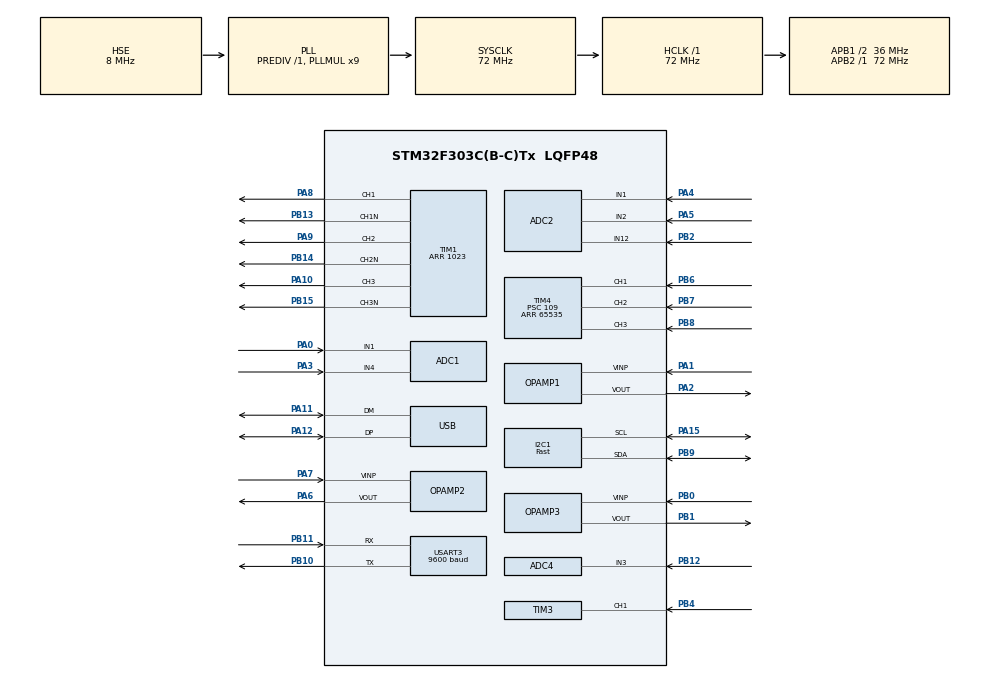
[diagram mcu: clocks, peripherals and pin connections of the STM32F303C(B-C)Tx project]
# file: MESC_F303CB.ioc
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ADC1.AWD1HighThreshold=4000
ADC1.AWD1ITMode=ENABLE
ADC1.AWD1LowThreshold=96
ADC1.Channel-0\#ChannelRegularConversion=ADC_CHANNEL_3
ADC1.Channel-1\#ChannelRegularConversion=ADC_CHANNEL_1
ADC1.Channel-2\#ChannelRegularConversion=ADC_CHANNEL_4
ADC1.ContinuousConvMode=DISABLE
ADC1.DMAContinuousRequests=ENABLE
ADC1.DataAlign=ADC_DATAALIGN_RIGHT
ADC1.EOCSelection=ADC_EOC_SEQ_CONV
ADC1.EnableAnalogWatchDog1=true
ADC1.EnableAnalogWatchDog2=false
ADC1.EnableInjectedConversion=ENABLE
ADC1.ExternalTrigConv=ADC_EXTERNALTRIGCONV_T1_TRGO
ADC1.ExternalTrigConvEdge=ADC_EXTERNALTRIGCONVEDGE_FALLING
ADC1.ExternalTrigInjecConv=ADC_EXTERNALTRIGINJECCONV_T1_TRGO
ADC1.ExternalTrigInjecConvEdge=ADC_EXTERNALTRIGINJECCONV_EDGE_FALLING
ADC1.InjMonitoredBy-3\#ChannelInjectedConversion=__NULL
ADC1.InjMonitoredBy-4\#ChannelInjectedConversion=__NULL
ADC1.InjMonitoredBy-5\#ChannelInjectedConversion=__NULL
ADC1.InjNumberOfConversion=3
ADC1.InjectedChannel-3\#ChannelInjectedConversion=ADC_CHANNEL_3
ADC1.InjectedChannel-4\#ChannelInjectedConversion=ADC_CHANNEL_1
ADC1.InjectedChannel-5\#ChannelInjectedConversion=ADC_CHANNEL_4
ADC1.InjectedOffset-3\#ChannelInjectedConversion=0
ADC1.InjectedOffset-4\#ChannelInjectedConversion=0
ADC1.InjectedOffset-5\#ChannelInjectedConversion=0
ADC1.InjectedOffsetNumber-3\#ChannelInjectedConversion=ADC_OFFSET_NONE
ADC1.InjectedOffsetNumber-4\#ChannelInjectedConversion=ADC_OFFSET_NONE
ADC1.InjectedOffsetNumber-5\#ChannelInjectedConversion=ADC_OFFSET_NONE
ADC1.InjectedRank-3\#ChannelInjectedConversion=1
ADC1.InjectedRank-4\#ChannelInjectedConversion=2
ADC1.InjectedRank-5\#ChannelInjectedConversion=3
ADC1.InjectedSamplingTime-3\#ChannelInjectedConversion=ADC_SAMPLETIME_61CYCLES_5
ADC1.InjectedSamplingTime-4\#ChannelInjectedConversion=ADC_SAMPLETIME_7CYCLES_5
ADC1.InjectedSamplingTime-5\#ChannelInjectedConversion=ADC_SAMPLETIME_7CYCLES_5
ADC1.InjectedSamplingTimeOPAMP-3\#ChannelInjectedConversion=ADC_SAMPLETIME_61CYCLES_5
ADC1.InjectedSamplingTimeOPAMP-4\#ChannelInjectedConversion=ADC_SAMPLETIME_61CYCLES_5
ADC1.InjectedSamplingTimeOPAMP-5\#ChannelInjectedConversion=ADC_SAMPLETIME_61CYCLES_5
ADC1.NbrOfConversion=3
ADC1.NbrOfConversionFlag=1
ADC1.Offset-0\#ChannelRegularConversion=0
ADC1.Offset-1\#ChannelRegularConversion=0
ADC1.Offset-2\#ChannelRegularConversion=0
ADC1.OffsetNumber-0\#ChannelRegularConversion=ADC_OFFSET_NONE
ADC1.OffsetNumber-1\#ChannelRegularConversion=ADC_OFFSET_NONE
ADC1.OffsetNumber-2\#ChannelRegularConversion=ADC_OFFSET_NONE
ADC1.Rank-0\#ChannelRegularConversion=1
ADC1.Rank-1\#ChannelRegularConversion=2
ADC1.Rank-2\#ChannelRegularConversion=3
ADC1.Rank1_Channel=ADC_CHANNEL_3
ADC1.Rank2_Channel=ADC_CHANNEL_1
ADC1.Rank3_Channel=ADC_CHANNEL_4
ADC1.SamplingTime-0\#ChannelRegularConversion=ADC_SAMPLETIME_61CYCLES_5
ADC1.SamplingTime-1\#ChannelRegularConversion=ADC_SAMPLETIME_61CYCLES_5
ADC1.SamplingTime-2\#ChannelRegularConversion=ADC_SAMPLETIME_4CYCLES_5
ADC1.WatchdogChannel=ADC_CHANNEL_3
ADC1.WatchdogMode=ADC_ANALOGWATCHDOG_SINGLE_INJEC
ADC1.master=1
ADC2.AWD1HighThreshold=4000
ADC2.AWD1ITMode=ENABLE
ADC2.AWD1LowThreshold=96
ADC2.Channel-0\#ChannelRegularConversion=ADC_CHANNEL_3
ADC2.Channel-1\#ChannelRegularConversion=ADC_CHANNEL_1
ADC2.Channel-2\#ChannelRegularConversion=ADC_CHANNEL_2
ADC2.Channel-3\#ChannelRegularConversion=ADC_CHANNEL_12
ADC2.ContinuousConvMode=DISABLE
ADC2.DMAContinuousRequests=ENABLE
ADC2.EOCSelection=ADC_EOC_SEQ_CONV
ADC2.EnableAnalogWatchDog1=true
ADC2.ExternalTrigConv=ADC_EXTERNALTRIGCONV_T1_TRGO
ADC2.ExternalTrigConvEdge=ADC_EXTERNALTRIGCONVEDGE_FALLING
ADC2.ExternalTrigInjecConv=ADC_EXTERNALTRIGINJECCONV_T1_TRGO
ADC2.ExternalTrigInjecConvEdge=ADC_EXTERNALTRIGINJECCONV_EDGE_FALLING
ADC2.InjNumberOfConversion=4
ADC2.InjectedChannel-4\#ChannelInjectedConversion=ADC_CHANNEL_3
ADC2.InjectedChannel-5\#ChannelInjectedConversion=ADC_CHANNEL_1
ADC2.InjectedChannel-6\#ChannelInjectedConversion=ADC_CHANNEL_2
ADC2.InjectedChannel-7\#ChannelInjectedConversion=ADC_CHANNEL_12
ADC2.InjectedOffset-4\#ChannelInjectedConversion=0
ADC2.InjectedOffset-5\#ChannelInjectedConversion=0
ADC2.InjectedOffset-6\#ChannelInjectedConversion=0
ADC2.InjectedOffset-7\#ChannelInjectedConversion=0
ADC2.InjectedOffsetNumber-4\#ChannelInjectedConversion=ADC_OFFSET_NONE
ADC2.InjectedOffsetNumber-5\#ChannelInjectedConversion=ADC_OFFSET_NONE
ADC2.InjectedOffsetNumber-6\#ChannelInjectedConversion=ADC_OFFSET_NONE
ADC2.InjectedOffsetNumber-7\#ChannelInjectedConversion=ADC_OFFSET_NONE
ADC2.InjectedRank-4\#ChannelInjectedConversion=1
ADC2.InjectedRank-5\#ChannelInjectedConversion=2
ADC2.InjectedRank-6\#ChannelInjectedConversion=3
ADC2.InjectedRank-7\#ChannelInjectedConversion=4
ADC2.InjectedSamplingTime-4\#ChannelInjectedConversion=ADC_SAMPLETIME_61CYCLES_5
ADC2.InjectedSamplingTime-5\#ChannelInjectedConversion=ADC_SAMPLETIME_7CYCLES_5
ADC2.InjectedSamplingTime-6\#ChannelInjectedConversion=ADC_SAMPLETIME_7CYCLES_5
ADC2.InjectedSamplingTime-7\#ChannelInjectedConversion=ADC_SAMPLETIME_7CYCLES_5
ADC2.InjectedSamplingTimeOPAMP-4\#ChannelInjectedConversion=ADC_SAMPLETIME_61CYCLES_5
ADC2.InjectedSamplingTimeOPAMP-5\#ChannelInjectedConversion=ADC_SAMPLETIME_61CYCLES_5
ADC2.InjectedSamplingTimeOPAMP-6\#ChannelInjectedConversion=ADC_SAMPLETIME_61CYCLES_5
ADC2.InjectedSamplingTimeOPAMP-7\#ChannelInjectedConversion=ADC_SAMPLETIME_61CYCLES_5
ADC2.NbrOfConversion=4
ADC2.NbrOfConversionFlag=1
ADC2.Offset-0\#ChannelRegularConversion=0
ADC2.Offset-1\#ChannelRegularConversion=0
ADC2.Offset-2\#ChannelRegularConversion=0
ADC2.Offset-3\#ChannelRegularConversion=0
ADC2.OffsetNumber-0\#ChannelRegularConversion=ADC_OFFSET_NONE
ADC2.OffsetNumber-1\#ChannelRegularConversion=ADC_OFFSET_NONE
ADC2.OffsetNumber-2\#ChannelRegularConversion=ADC_OFFSET_NONE
ADC2.OffsetNumber-3\#ChannelRegularConversion=ADC_OFFSET_NONE
ADC2.Rank-0\#ChannelRegularConversion=1
ADC2.Rank-1\#ChannelRegularConversion=2
ADC2.Rank-2\#ChannelRegularConversion=3
ADC2.Rank-3\#ChannelRegularConversion=4
ADC2.Rank1_Channel=ADC_CHANNEL_3
ADC2.Rank2_Channel=ADC_CHANNEL_1
ADC2.Rank3_Channel=ADC_CHANNEL_2
ADC2.Rank4_Channel=ADC_CHANNEL_12
ADC2.SamplingTime-0\#ChannelRegularConversion=ADC_SAMPLETIME_61CYCLES_5
ADC2.SamplingTime-1\#ChannelRegularConversion=ADC_SAMPLETIME_4CYCLES_5
ADC2.SamplingTime-2\#ChannelRegularConversion=ADC_SAMPLETIME_4CYCLES_5
ADC2.SamplingTime-3\#ChannelRegularConversion=ADC_SAMPLETIME_19CYCLES_5
ADC2.SamplingTimeOPAMP-3\#ChannelRegularConversion=ADC_SAMPLETIME_61CYCLES_5
ADC2.WatchdogChannel=ADC_CHANNEL_3
ADC3.AWD1HighThreshold=4000
ADC3.AWD1ITMode=ENABLE
ADC3.AWD1LowThreshold=96
ADC3.Channel-0\#ChannelRegularConversion=ADC_CHANNEL_1
ADC3.ContinuousConvMode=DISABLE
ADC3.DMAContinuousRequests=ENABLE
ADC3.EOCSelection=ADC_EOC_SEQ_CONV
ADC3.EnableAnalogWatchDog1=true
ADC3.EnableAnalogWatchDog2=false
ADC3.ExternalTrigConv=ADC_EXTERNALTRIGCONV_T1_TRGO
ADC3.ExternalTrigConvEdge=ADC_EXTERNALTRIGCONVEDGE_FALLING
ADC3.ExternalTrigInjecConv=ADC_EXTERNALTRIGINJECCONV_T1_TRGO
ADC3.ExternalTrigInjecConvEdge=ADC_EXTERNALTRIGINJECCONV_EDGE_FALLING
ADC3.InjNumberOfConversion=1
ADC3.InjectedChannel-1\#ChannelInjectedConversion=ADC_CHANNEL_1
ADC3.InjectedOffset-1\#ChannelInjectedConversion=0
ADC3.InjectedOffsetNumber-1\#ChannelInjectedConversion=ADC_OFFSET_NONE
ADC3.InjectedRank-1\#ChannelInjectedConversion=1
ADC3.InjectedSamplingTime-1\#ChannelInjectedConversion=ADC_SAMPLETIME_61CYCLES_5
ADC3.InjectedSamplingTimeOPAMP-1\#ChannelInjectedConversion=ADC_SAMPLETIME_61CYCLES_5
ADC3.NbrOfConversionFlag=1
ADC3.Offset-0\#ChannelRegularConversion=0
ADC3.OffsetNumber-0\#ChannelRegularConversion=ADC_OFFSET_NONE
ADC3.Rank-0\#ChannelRegularConversion=1
ADC3.Rank1_Channel=ADC_CHANNEL_1
ADC3.SamplingTime-0\#ChannelRegularConversion=ADC_SAMPLETIME_61CYCLES_5
ADC3.master=1
ADC4.Channel-0\#ChannelRegularConversion=ADC_CHANNEL_3
ADC4.DMAContinuousRequests=ENABLE
ADC4.EOCSelection=ADC_EOC_SEQ_CONV
ADC4.ExternalTrigConv=ADC_EXTERNALTRIGCONV_T1_TRGO
ADC4.ExternalTrigInjecConv=ADC_EXTERNALTRIGINJECCONV_T1_TRGO
ADC4.ExternalTrigInjecConvEdge=ADC_EXTERNALTRIGINJECCONV_EDGE_FALLING
ADC4.InjNumberOfConversion=1
ADC4.InjectedChannel-1\#ChannelInjectedConversion=ADC_CHANNEL_3
ADC4.InjectedOffset-1\#ChannelInjectedConversion=0
ADC4.InjectedOffsetNumber-1\#ChannelInjectedConversion=ADC_OFFSET_NONE
ADC4.InjectedRank-1\#ChannelInjectedConversion=1
ADC4.InjectedSamplingTime-1\#ChannelInjectedConversion=ADC_SAMPLETIME_7CYCLES_5
ADC4.InjectedSamplingTimeOPAMP-1\#ChannelInjectedConversion=ADC_SAMPLETIME_61CYCLES_5
ADC4.NbrOfConversion=1
ADC4.NbrOfConversionFlag=1
ADC4.Offset-0\#ChannelRegularConversion=0
ADC4.OffsetNumber-0\#ChannelRegularConversion=ADC_OFFSET_NONE
ADC4.Rank-0\#ChannelRegularConversion=1
ADC4.Rank1_Channel=ADC_CHANNEL_3
ADC4.SamplingTime-0\#ChannelRegularConversion=ADC_SAMPLETIME_19CYCLES_5
ADC4.SamplingTimeOPAMP-0\#ChannelRegularConversion=ADC_SAMPLETIME_61CYCLES_5
COMP1.InvertingInput=COMP_INVERTINGINPUT_1_4VREFINT
COMP1.Output=COMP_OUTPUT_TIM1BKIN2
COMP1.OutputPol=COMP_OUTPUTPOL_NONINVERTED
COMP2.InvertingInput=COMP_INVERTINGINPUT_1_4VREFINT
COMP2.Output=COMP_OUTPUT_TIM1BKIN2
COMP4.InvertingInput=COMP_INVERTINGINPUT_1_4VREFINT
COMP4.Output=COMP_OUTPUT_TIM1BKIN2
COMP7.InvertingInput=COMP_INVERTINGINPUT_VREFINT
COMP7.Output=COMP_OUTPUT_TIM1BKIN2
Dma.ADC1.3.Direction=DMA_PERIPH_TO_MEMORY
Dma.ADC1.3.Instance=DMA1_Channel1
Dma.ADC1.3.MemDataAlignment=DMA_MDATAALIGN_WORD
Dma.ADC1.3.MemInc=DMA_MINC_ENABLE
Dma.ADC1.3.Mode=DMA_CIRCULAR
Dma.ADC1.3.PeriphDataAlignment=DMA_PDATAALIGN_WORD
Dma.ADC1.3.PeriphInc=DMA_PINC_DISABLE
Dma.ADC1.3.Priority=DMA_PRIORITY_HIGH
Dma.ADC2.4.Direction=DMA_PERIPH_TO_MEMORY
Dma.ADC2.4.Instance=DMA2_Channel1
Dma.ADC2.4.MemDataAlignment=DMA_MDATAALIGN_WORD
Dma.ADC2.4.MemInc=DMA_MINC_ENABLE
Dma.ADC2.4.Mode=DMA_CIRCULAR
Dma.ADC2.4.PeriphDataAlignment=DMA_PDATAALIGN_WORD
Dma.ADC2.4.PeriphInc=DMA_PINC_DISABLE
Dma.ADC2.4.Priority=DMA_PRIORITY_HIGH
Dma.ADC3.5.Direction=DMA_PERIPH_TO_MEMORY
Dma.ADC3.5.Instance=DMA2_Channel5
Dma.ADC3.5.MemDataAlignment=DMA_MDATAALIGN_WORD
Dma.ADC3.5.MemInc=DMA_MINC_ENABLE
Dma.ADC3.5.Mode=DMA_CIRCULAR
Dma.ADC3.5.PeriphDataAlignment=DMA_PDATAALIGN_WORD
Dma.ADC3.5.PeriphInc=DMA_PINC_DISABLE
Dma.ADC3.5.Priority=DMA_PRIORITY_HIGH
Dma.ADC4.6.Direction=DMA_PERIPH_TO_MEMORY
Dma.ADC4.6.Instance=DMA2_Channel2
Dma.ADC4.6.MemDataAlignment=DMA_MDATAALIGN_HALFWORD
Dma.ADC4.6.MemInc=DMA_MINC_ENABLE
Dma.ADC4.6.Mode=DMA_CIRCULAR
Dma.ADC4.6.PeriphDataAlignment=DMA_PDATAALIGN_HALFWORD
Dma.ADC4.6.PeriphInc=DMA_PINC_DISABLE
Dma.ADC4.6.Priority=DMA_PRIORITY_LOW
Dma.I2C1_RX.0.Direction=DMA_PERIPH_TO_MEMORY
Dma.I2C1_RX.0.Instance=DMA1_Channel7
Dma.I2C1_RX.0.MemDataAlignment=DMA_MDATAALIGN_BYTE
Dma.I2C1_RX.0.MemInc=DMA_MINC_ENABLE
Dma.I2C1_RX.0.Mode=DMA_NORMAL
Dma.I2C1_RX.0.PeriphDataAlignment=DMA_PDATAALIGN_BYTE
Dma.I2C1_RX.0.PeriphInc=DMA_PINC_DISABLE
Dma.I2C1_RX.0.Priority=DMA_PRIORITY_LOW
Dma.I2C1_TX.1.Direction=DMA_MEMORY_TO_PERIPH
Dma.I2C1_TX.1.Instance=DMA1_Channel6
Dma.I2C1_TX.1.MemDataAlignment=DMA_MDATAALIGN_BYTE
Dma.I2C1_TX.1.MemInc=DMA_MINC_ENABLE
Dma.I2C1_TX.1.Mode=DMA_NORMAL
Dma.I2C1_TX.1.PeriphDataAlignment=DMA_PDATAALIGN_BYTE
Dma.I2C1_TX.1.PeriphInc=DMA_PINC_DISABLE
Dma.I2C1_TX.1.Priority=DMA_PRIORITY_LOW
Dma.Request0=I2C1_RX
Dma.Request1=I2C1_TX
Dma.Request2=USART3_TX
Dma.Request3=ADC1
Dma.Request4=ADC2
Dma.Request5=ADC3
Dma.Request6=ADC4
Dma.USART3_TX.2.Direction=DMA_MEMORY_TO_PERIPH
Dma.USART3_TX.2.Instance=DMA1_Channel2
Dma.USART3_TX.2.MemDataAlignment=DMA_MDATAALIGN_BYTE
Dma.USART3_TX.2.MemInc=DMA_MINC_ENABLE
Dma.USART3_TX.2.Mode=DMA_NORMAL
Dma.USART3_TX.2.PeriphDataAlignment=DMA_PDATAALIGN_BYTE
Dma.USART3_TX.2.PeriphInc=DMA_PINC_DISABLE
Dma.USART3_TX.2.Priority=DMA_PRIORITY_LOW
I2C1.I2C_Speed_Mode=I2C_Fast
I2C1.Timing=0x0000020B
Mcu.Family=STM32F3
Mcu.Name=STM32F303C(B-C)Tx
Mcu.Package=LQFP48
NVIC.ADC1_2_IRQn=true\:1\:0\:true\:false\:true\:true\:false\:true
NVIC.ADC3_IRQn=true\:0\:0\:false\:false\:true\:true\:true\:true
NVIC.ADC4_IRQn=true\:2\:0\:true\:false\:true\:true\:true\:true
NVIC.DMA1_Channel2_IRQn=true\:2\:0\:true\:true\:true\:1\:true\:true\:true
NVIC.PriorityGroup=NVIC_PRIORITYGROUP_4
NVIC.TIM1_UP_TIM16_IRQn=true\:0\:0\:true\:false\:true\:true\:false\:true
NVIC.TIM3_IRQn=true\:2\:0\:true\:false\:true\:true\:false\:true
NVIC.TIM4_IRQn=true\:2\:0\:true\:false\:true\:true\:false\:true
NVIC.TIM7_IRQn=true\:0\:0\:false\:false\:true\:false\:true\:true
NVIC.TimeBase=TIM7_IRQn
NVIC.TimeBaseIP=TIM7
NVIC.USART3_IRQn=true\:2\:0\:true\:false\:true\:true\:true\:true
NVIC.USB_LP_CAN_RX0_IRQn=true\:3\:0\:true\:false\:true\:false\:true\:true
OPAMP1.PgaGain=OPAMP_PGA_GAIN_16
OPAMP1.SelfCalibration=Enable
OPAMP2.PgaGain=OPAMP_PGA_GAIN_16
OPAMP3.PgaGain=OPAMP_PGA_GAIN_16
PA0.Signal=SharedAnalog_PA0
PA0.Stacked=true
PA1.Signal=SharedStack_PA1
PA1.Stacked=true
PA10.Signal=S_TIM1_CH3
PA11.Mode=Device
PA11.Signal=USB_DM
PA12.Mode=Device
PA12.Signal=USB_DP
PA13.Mode=Serial_Wire
PA13.Signal=SYS_JTMS-SWDIO
PA14.Mode=Serial_Wire
PA14.Signal=SYS_JTCK-SWCLK
PA15.GPIO_Pu=GPIO_PULLUP
PA15.Mode=I2C
PA15.Signal=I2C1_SCL
PA2.Mode=PGA Not Connected
PA2.Signal=OPAMP1_VOUT
PA2.Stacked=true
PA3.Mode=IN4-Single-Ended
PA3.Signal=ADC1_IN4
PA4.Mode=IN1-Single-Ended
PA4.Signal=ADC2_IN1
PA5.Mode=IN2-Single-Ended
PA5.Signal=ADC2_IN2
PA6.Mode=PGA Not Connected
PA6.Signal=OPAMP2_VOUT
PA7.Signal=SharedStack_PA7
PA7.Stacked=true
PA8.Signal=S_TIM1_CH1
PA9.Signal=S_TIM1_CH2
PB0.Signal=SharedStack_PB0
PB0.Stacked=true
PB1.Mode=PGA Not Connected
PB1.Signal=OPAMP3_VOUT
PB10.Mode=Asynchronous
PB10.Signal=USART3_TX
PB10.Stacked=true
PB11.Mode=Asynchronous
PB11.Signal=USART3_RX
PB11.Stacked=true
PB12.Mode=IN3-Single-Ended
PB12.Signal=ADC4_IN3
PB13.Mode=PWM Generation1 CH1 CH1N
PB13.Signal=TIM1_CH1N
PB14.Mode=PWM Generation2 CH2 CH2N
PB14.Signal=TIM1_CH2N
PB15.Mode=PWM Generation3 CH3 CH3N
PB15.Signal=TIM1_CH3N
PB2.Mode=IN12-Single-Ended
PB2.Signal=ADC2_IN12
PB4.Signal=S_TIM3_CH1
PB6.Signal=S_TIM4_CH1
PB7.Signal=S_TIM4_CH2
PB8.Signal=S_TIM4_CH3
PB9.GPIO_Pu=GPIO_PULLUP
PB9.Mode=I2C
PB9.Signal=I2C1_SDA
PF0-OSC_IN.Mode=HSE-External-Clock-Source
PF0-OSC_IN.Signal=RCC_OSC_IN
ProjectManager.HeapSize=0x200
ProjectManager.StackSize=0x400
ProjectManager.TargetToolchain=STM32CubeIDE
RCC.AHBFreq_Value=72000000
RCC.APB1CLKDivider=RCC_HCLK_DIV2
RCC.APB1Freq_Value=36000000
RCC.APB1TimFreq_Value=72000000
RCC.APB2Freq_Value=72000000
RCC.APB2TimFreq_Value=72000000
RCC.CortexFreq_Value=72000000
RCC.HCLKFreq_Value=72000000
RCC.HSE_VALUE=8000000
RCC.HSI_VALUE=8000000
RCC.LSE_VALUE=32768
RCC.PLLMUL=RCC_PLL_MUL9
RCC.PRESCALERUSB=RCC_USBCLKSOURCE_PLL_DIV1_5
RCC.SYSCLKFreq_VALUE=72000000
RCC.SYSCLKSourceVirtual=RCC_SYSCLKSOURCE_PLLCLK
RCC.USBFreq_Value=48000000
SH.S_TIM1_CH1.0=TIM1_CH1,PWM Generation1 CH1 CH1N
SH.S_TIM1_CH2.0=TIM1_CH2,PWM Generation2 CH2 CH2N
SH.S_TIM1_CH3.0=TIM1_CH3,PWM Generation3 CH3 CH3N
SH.S_TIM3_CH1.0=TIM3_CH1,TriggerSource_TI1FP1
SH.S_TIM3_CH1.1=TIM3_CH1,Input_Capture1_from_TI1
SH.S_TIM3_CH1.2=TIM3_CH1,Input_Capture2_from_TI1
SH.S_TIM4_CH1.0=TIM4_CH1,TriggerSource_TI1ED
SH.S_TIM4_CH1.1=TIM4_CH1,Input_Capture1_from_TI1
SH.S_TIM4_CH2.0=TIM4_CH2,Input_Capture2_from_TI2
SH.S_TIM4_CH3.0=TIM4_CH3,Input_Capture3_from_TI3
SH.SharedAnalog_PA0.0=ADC1_IN1,IN1-Single-Ended
SH.SharedAnalog_PA0.1=COMP7_INP,INP
SH.SharedStack_PA1.0=OPAMP1_VINP,PGA Not Connected
SH.SharedStack_PA1.1=COMP1_INP,INP
SH.SharedStack_PA7.0=OPAMP2_VINP,PGA Not Connected
SH.SharedStack_PA7.1=COMP2_INP,INP
SH.SharedStack_PB0.0=OPAMP3_VINP,PGA Not Connected
SH.SharedStack_PB0.1=COMP4_INP,INP
TIM1.Break2Filter=6
TIM1.Break2State=TIM_BREAK2_ENABLE
TIM1.BreakState=TIM_BREAK_DISABLE
TIM1.Channel-PWM\ Generation1\ CH1\ CH1N=TIM_CHANNEL_1
TIM1.Channel-PWM\ Generation2\ CH2\ CH2N=TIM_CHANNEL_2
TIM1.Channel-PWM\ Generation3\ CH3\ CH3N=TIM_CHANNEL_3
TIM1.Channel-PWM\ Generation4\ No\ Output=TIM_CHANNEL_4
TIM1.CounterMode=TIM_COUNTERMODE_CENTERALIGNED1
TIM1.DeadTime=30
TIM1.OCNPolarity_1=TIM_OCNPOLARITY_HIGH
TIM1.OCNPolarity_2=TIM_OCNPOLARITY_HIGH
TIM1.OCNPolarity_3=TIM_OCNPOLARITY_HIGH
TIM1.OCPolarity_1=TIM_OCPOLARITY_HIGH
TIM1.OffStateIDLEMode=TIM_OSSI_ENABLE
TIM1.OffStateRunMode=TIM_OSSR_ENABLE
TIM1.Period=1023
TIM1.Pulse-PWM\ Generation1\ CH1\ CH1N=512
TIM1.Pulse-PWM\ Generation2\ CH2\ CH2N=512
TIM1.Pulse-PWM\ Generation3\ CH3\ CH3N=512
TIM1.Pulse-PWM\ Generation4\ No\ Output=5
TIM1.TIM_MasterOutputTrigger=TIM_TRGO_OC4REF
TIM1.TIM_MasterOutputTrigger2=TIM_TRGO2_RESET
TIM3.Channel-Input_Capture1_from_TI1=TIM_CHANNEL_1
TIM3.Channel-Input_Capture2_from_TI1=TIM_CHANNEL_2
TIM3.ICPolarity_CH2=TIM_INPUTCHANNELPOLARITY_FALLING
TIM3.Period=65535
TIM3.Prescaler=71
TIM4.Channel-Input_Capture1_from_TI1=TIM_CHANNEL_1
TIM4.Channel-Input_Capture2_from_TI2=TIM_CHANNEL_2
TIM4.Channel-Input_Capture3_from_TI3=TIM_CHANNEL_3
TIM4.ICPolarity_CH1=TIM_INPUTCHANNELPOLARITY_BOTHEDGE
TIM4.ICPolarity_CH2=TIM_INPUTCHANNELPOLARITY_BOTHEDGE
TIM4.ICPolarity_CH3=TIM_INPUTCHANNELPOLARITY_BOTHEDGE
TIM4.Period=65535
TIM4.Prescaler=109
USART3.BaudRate=9600
USART3.VirtualMode-Asynchronous=VM_ASYNC
USB_DEVICE.CLASS_NAME_FS=CDC
USB_DEVICE.VirtualMode=Cdc
USB_DEVICE.VirtualModeFS=Cdc_FS
VP_ADC1_OPAMP_OUT1.Mode=IN3-OPAMP1-Single-Ended
VP_ADC2_OPAMP_OUT2.Mode=IN3-OPAMP2-Single-Ended
VP_ADC3_OPAMP_OUT3.Mode=IN1-OPAMP3-Single-Ended
VP_COMP1_VS_VREFINT14.Mode=VREFINT_14
VP_COMP2_VS_VREFINT14.Mode=VREFINT_14
VP_COMP4_VS_VREFINT14.Mode=VREFINT_14
VP_COMP7_VS_VREFINT.Mode=VREFINT
VP_SYS_VS_tim7.Mode=TIM7
VP_TIM17_VS_ClockSourceINT.Mode=Enable_Timer
VP_TIM1_VS_no_output4.Mode=PWM Generation4 No Output
VP_TIM3_VS_ControllerModeReset.Mode=Reset Mode
VP_TIM4_VS_ControllerModeReset.Mode=Reset Mode
VP_TIM4_VS_XOR.Mode=XOR_enable
VP_USB_DEVICE_VS_USB_DEVICE_CDC_FS.Mode=CDC_FS
board=custom

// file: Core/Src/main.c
/* USER CODE BEGIN Header */
/**
 ******************************************************************************
 * @file           : main.c
 * @brief          : Main program body
 ******************************************************************************
 * @attention
 *
 * <h2><center>&copy; Copyright (c) 2020 STMicroelectronics.
 * All rights reserved.</center></h2>
 *
 * This software component is licensed by ST under BSD 3-Clause license,
 * the "License"; You may not use this file except in compliance with the
 * License. You may obtain a copy of the License at:
 *                        opensource.org/licenses/BSD-3-Clause
 *
 ******************************************************************************
 */
/* USER CODE END Header */
#include "main.h"
#include "usb_device.h"

/* USER CODE BEGIN Includes */

//#include "usbd_cdc_if.c"
//#include "usbd_cdc.h"

#include "MESCmotor.h"
#include "MESCtemp.h"
#include "MESCfoc.h"

#include <stdio.h>

/* USER CODE END Includes */

ADC_HandleTypeDef hadc1;
ADC_HandleTypeDef hadc2;
ADC_HandleTypeDef hadc3;
ADC_HandleTypeDef hadc4;
DMA_HandleTypeDef hdma_adc1;
DMA_HandleTypeDef hdma_adc2;
DMA_HandleTypeDef hdma_adc3;
DMA_HandleTypeDef hdma_adc4;

COMP_HandleTypeDef hcomp1;
COMP_HandleTypeDef hcomp2;
COMP_HandleTypeDef hcomp4;
COMP_HandleTypeDef hcomp7;

I2C_HandleTypeDef hi2c1;
DMA_HandleTypeDef hdma_i2c1_rx;
DMA_HandleTypeDef hdma_i2c1_tx;

OPAMP_HandleTypeDef hopamp1;
OPAMP_HandleTypeDef hopamp2;
OPAMP_HandleTypeDef hopamp3;

TIM_HandleTypeDef htim1;
TIM_HandleTypeDef htim3;
TIM_HandleTypeDef htim4;
TIM_HandleTypeDef htim17;

UART_HandleTypeDef huart3;
DMA_HandleTypeDef hdma_usart3_tx;

/* USER CODE BEGIN PV */
// int initing = 1;
char UART_buffer[12];
char USBRxBuffer[12];
extern uint8_t b_write_flash;
extern uint8_t b_read_flash;
/* USER CODE END PV */

void SystemClock_Config(void);
static void MX_GPIO_Init(void);
static void MX_DMA_Init(void);
static void MX_ADC1_Init(void);
static void MX_ADC2_Init(void);
static void MX_ADC3_Init(void);
static void MX_COMP1_Init(void);
static void MX_COMP2_Init(void);
static void MX_COMP4_Init(void);
static void MX_COMP7_Init(void);
static void MX_I2C1_Init(void);
static void MX_OPAMP1_Init(void);
static void MX_OPAMP2_Init(void);
static void MX_OPAMP3_Init(void);
static void MX_TIM1_Init(void);
static void MX_TIM3_Init(void);
static void MX_TIM4_Init(void);
static void MX_USART3_UART_Init(void);
static void MX_ADC4_Init(void);
static void MX_TIM17_Init(void);
static void MX_NVIC_Init(void);
/* USER CODE BEGIN PFP */
//
/* USER CODE END PFP */

int main(void)
{

  /* MCU Configuration--------------------------------------------------------*/

  /* Reset of all peripherals, Initializes the Flash interface and the Systick. */
  HAL_Init();

  /* Configure the system clock */
  SystemClock_Config();

  /* Initialize all configured peripherals */
  MX_GPIO_Init();
  MX_DMA_Init();
  MX_ADC1_Init();
  MX_ADC2_Init();
  MX_ADC3_Init();
  MX_COMP1_Init();
  MX_COMP2_Init();
  MX_COMP4_Init();
  MX_COMP7_Init();
  MX_I2C1_Init();
  MX_OPAMP1_Init();
  MX_OPAMP2_Init();
  MX_OPAMP3_Init();
  MX_TIM1_Init();
  MX_TIM3_Init();
  MX_TIM4_Init();
  MX_USART3_UART_Init();
  MX_ADC4_Init();
  MX_TIM17_Init();
  MX_USB_DEVICE_Init();

  /* Initialize interrupts */
  MX_NVIC_Init();
  /* USER CODE BEGIN 2 */

	motor_init(NULL);

    // TODO: you might want to have a flag here to signify if valid dataset has been retrieved from flash.

    //Initialise MESC
	mtr[0].mtimer = &htim1;
	mtr[0].stimer = &htim3;

	motor_init(&mtr[0]);
	MESCfoc_Init(&mtr[0]);

    char message[20];
    int length = sprintf( message, "%s", "startup!!\r\n" );
    HAL_UART_Transmit_DMA(&huart3, (uint8_t *)message, length);

  /* USER CODE END 2 */

  /* Infinite loop */
    while (1)
    {

    }
}

void SystemClock_Config(void)
{
  RCC_OscInitTypeDef RCC_OscInitStruct = {0};
  RCC_ClkInitTypeDef RCC_ClkInitStruct = {0};
  RCC_PeriphCLKInitTypeDef PeriphClkInit = {0};

  /** Initializes the RCC Oscillators according to the specified parameters
  * in the RCC_OscInitTypeDef structure.
  */
  RCC_OscInitStruct.OscillatorType = RCC_OSCILLATORTYPE_HSI|RCC_OSCILLATORTYPE_HSE;
  RCC_OscInitStruct.HSEState = RCC_HSE_BYPASS;
  RCC_OscInitStruct.HSEPredivValue = RCC_HSE_PREDIV_DIV1;
  RCC_OscInitStruct.HSIState = RCC_HSI_ON;
  RCC_OscInitStruct.HSICalibrationValue = RCC_HSICALIBRATION_DEFAULT;
  RCC_OscInitStruct.PLL.PLLState = RCC_PLL_ON;
  RCC_OscInitStruct.PLL.PLLSource = RCC_PLLSOURCE_HSE;
  RCC_OscInitStruct.PLL.PLLMUL = RCC_PLL_MUL9;
  if (HAL_RCC_OscConfig(&RCC_OscInitStruct) != HAL_OK)
  {
    Error_Handler();
  }

  /** Initializes the CPU, AHB and APB buses clocks
  */
  RCC_ClkInitStruct.ClockType = RCC_CLOCKTYPE_HCLK|RCC_CLOCKTYPE_SYSCLK
                              |RCC_CLOCKTYPE_PCLK1|RCC_CLOCKTYPE_PCLK2;
  RCC_ClkInitStruct.SYSCLKSource = RCC_SYSCLKSOURCE_PLLCLK;
  RCC_ClkInitStruct.AHBCLKDivider = RCC_SYSCLK_DIV1;
  RCC_ClkInitStruct.APB1CLKDivider = RCC_HCLK_DIV2;
  RCC_ClkInitStruct.APB2CLKDivider = RCC_HCLK_DIV1;

  if (HAL_RCC_ClockConfig(&RCC_ClkInitStruct, FLASH_LATENCY_2) != HAL_OK)
  {
    Error_Handler();
  }
  PeriphClkInit.PeriphClockSelection = RCC_PERIPHCLK_USB|RCC_PERIPHCLK_USART3
                              |RCC_PERIPHCLK_I2C1|RCC_PERIPHCLK_TIM1
                              |RCC_PERIPHCLK_ADC12|RCC_PERIPHCLK_ADC34;
  PeriphClkInit.Usart3ClockSelection = RCC_USART3CLKSOURCE_PCLK1;
  PeriphClkInit.Adc12ClockSelection = RCC_ADC12PLLCLK_DIV1;
  PeriphClkInit.Adc34ClockSelection = RCC_ADC34PLLCLK_DIV1;
  PeriphClkInit.I2c1ClockSelection = RCC_I2C1CLKSOURCE_HSI;
  PeriphClkInit.USBClockSelection = RCC_USBCLKSOURCE_PLL_DIV1_5;
  PeriphClkInit.Tim1ClockSelection = RCC_TIM1CLK_HCLK;
  if (HAL_RCCEx_PeriphCLKConfig(&PeriphClkInit) != HAL_OK)
  {
    Error_Handler();
  }
}

/**
  * @brief NVIC Configuration.
  * @retval None
  */
static void MX_NVIC_Init(void)
{
  /* DMA1_Channel2_IRQn interrupt configuration */
  HAL_NVIC_SetPriority(DMA1_Channel2_IRQn, 2, 0);
  HAL_NVIC_EnableIRQ(DMA1_Channel2_IRQn);
}

static void MX_ADC1_Init(void)
{

  ADC_MultiModeTypeDef multimode = {0};
  ADC_AnalogWDGConfTypeDef AnalogWDGConfig = {0};
  ADC_ChannelConfTypeDef sConfig = {0};
  ADC_InjectionConfTypeDef sConfigInjected = {0};

  /** Common config
  */
  hadc1.Instance = ADC1;
  hadc1.Init.ClockPrescaler = ADC_CLOCK_ASYNC_DIV1;
  hadc1.Init.Resolution = ADC_RESOLUTION_12B;
  hadc1.Init.ScanConvMode = ADC_SCAN_ENABLE;
  hadc1.Init.ContinuousConvMode = DISABLE;
  hadc1.Init.DiscontinuousConvMode = DISABLE;
  hadc1.Init.ExternalTrigConvEdge = ADC_EXTERNALTRIGCONVEDGE_FALLING;
  hadc1.Init.ExternalTrigConv = ADC_EXTERNALTRIGCONV_T1_TRGO;
  hadc1.Init.DataAlign = ADC_DATAALIGN_RIGHT;
  hadc1.Init.NbrOfConversion = 3;
  hadc1.Init.DMAContinuousRequests = ENABLE;
  hadc1.Init.EOCSelection = ADC_EOC_SEQ_CONV;
  hadc1.Init.LowPowerAutoWait = DISABLE;
  hadc1.Init.Overrun = ADC_OVR_DATA_OVERWRITTEN;
  if (HAL_ADC_Init(&hadc1) != HAL_OK)
  {
    Error_Handler();
  }

  /** Configure the ADC multi-mode
  */
  multimode.Mode = ADC_MODE_INDEPENDENT;
  if (HAL_ADCEx_MultiModeConfigChannel(&hadc1, &multimode) != HAL_OK)
  {
    Error_Handler();
  }

  /** Configure Analog WatchDog 1
  */
  AnalogWDGConfig.WatchdogNumber = ADC_ANALOGWATCHDOG_1;
  AnalogWDGConfig.WatchdogMode = ADC_ANALOGWATCHDOG_SINGLE_INJEC;
  AnalogWDGConfig.HighThreshold = 4000;
  AnalogWDGConfig.LowThreshold = 96;
  AnalogWDGConfig.Channel = ADC_CHANNEL_3;
  AnalogWDGConfig.ITMode = ENABLE;
  if (HAL_ADC_AnalogWDGConfig(&hadc1, &AnalogWDGConfig) != HAL_OK)
  {
    Error_Handler();
  }

  /** Configure Regular Channel
  */
  sConfig.Channel = ADC_CHANNEL_3;
  sConfig.Rank = ADC_REGULAR_RANK_1;
  sConfig.SingleDiff = ADC_SINGLE_ENDED;
  sConfig.SamplingTime = ADC_SAMPLETIME_61CYCLES_5;
  sConfig.OffsetNumber = ADC_OFFSET_NONE;
  sConfig.Offset = 0;
  if (HAL_ADC_ConfigChannel(&hadc1, &sConfig) != HAL_OK)
  {
    Error_Handler();
  }

  /** Configure Regular Channel
  */
  sConfig.Channel = ADC_CHANNEL_1;
  sConfig.Rank = ADC_REGULAR_RANK_2;
  if (HAL_ADC_ConfigChannel(&hadc1, &sConfig) != HAL_OK)
  {
    Error_Handler();
  }

  /** Configure Regular Channel
  */
  sConfig.Channel = ADC_CHANNEL_4;
  sConfig.Rank = ADC_REGULAR_RANK_3;
  sConfig.SamplingTime = ADC_SAMPLETIME_4CYCLES_5;
  if (HAL_ADC_ConfigChannel(&hadc1, &sConfig) != HAL_OK)
  {
    Error_Handler();
  }

  /** Configure Injected Channel
  */
  sConfigInjected.InjectedChannel = ADC_CHANNEL_3;
  sConfigInjected.InjectedRank = ADC_INJECTED_RANK_1;
  sConfigInjected.InjectedSingleDiff = ADC_SINGLE_ENDED;
  sConfigInjected.InjectedNbrOfConversion = 3;
  sConfigInjected.InjectedSamplingTime = ADC_SAMPLETIME_61CYCLES_5;
  sConfigInjected.ExternalTrigInjecConvEdge = ADC_EXTERNALTRIGINJECCONV_EDGE_FALLING;
  sConfigInjected.ExternalTrigInjecConv = ADC_EXTERNALTRIGINJECCONV_T1_TRGO;
  sConfigInjected.AutoInjectedConv = DISABLE;
  sConfigInjected.InjectedDiscontinuousConvMode = DISABLE;
  sConfigInjected.QueueInjectedContext = DISABLE;
  sConfigInjected.InjectedOffset = 0;
  sConfigInjected.InjectedOffsetNumber = ADC_OFFSET_NONE;
  if (HAL_ADCEx_InjectedConfigChannel(&hadc1, &sConfigInjected) != HAL_OK)
  {
    Error_Handler();
  }

  /** Configure Injected Channel
  */
  sConfigInjected.InjectedChannel = ADC_CHANNEL_1;
  sConfigInjected.InjectedRank = ADC_INJECTED_RANK_2;
  sConfigInjected.InjectedSamplingTime = ADC_SAMPLETIME_7CYCLES_5;
  if (HAL_ADCEx_InjectedConfigChannel(&hadc1, &sConfigInjected) != HAL_OK)
  {
    Error_Handler();
  }

  /** Configure Injected Channel
  */
  sConfigInjected.InjectedChannel = ADC_CHANNEL_4;
  sConfigInjected.InjectedRank = ADC_INJECTED_RANK_3;
  if (HAL_ADCEx_InjectedConfigChannel(&hadc1, &sConfigInjected) != HAL_OK)
  {
    Error_Handler();
  }

}

static void MX_ADC2_Init(void)
{

  ADC_AnalogWDGConfTypeDef AnalogWDGConfig = {0};
  ADC_ChannelConfTypeDef sConfig = {0};
  ADC_InjectionConfTypeDef sConfigInjected = {0};

  /** Common config
  */
  hadc2.Instance = ADC2;
  hadc2.Init.ClockPrescaler = ADC_CLOCK_ASYNC_DIV1;
  hadc2.Init.Resolution = ADC_RESOLUTION_12B;
  hadc2.Init.ScanConvMode = ADC_SCAN_ENABLE;
  hadc2.Init.ContinuousConvMode = DISABLE;
  hadc2.Init.DiscontinuousConvMode = DISABLE;
  hadc2.Init.ExternalTrigConvEdge = ADC_EXTERNALTRIGCONVEDGE_FALLING;
  hadc2.Init.ExternalTrigConv = ADC_EXTERNALTRIGCONV_T1_TRGO;
  hadc2.Init.DataAlign = ADC_DATAALIGN_RIGHT;
  hadc2.Init.NbrOfConversion = 4;
  hadc2.Init.DMAContinuousRequests = ENABLE;
  hadc2.Init.EOCSelection = ADC_EOC_SEQ_CONV;
  hadc2.Init.LowPowerAutoWait = DISABLE;
  hadc2.Init.Overrun = ADC_OVR_DATA_OVERWRITTEN;
  if (HAL_ADC_Init(&hadc2) != HAL_OK)
  {
    Error_Handler();
  }

  /** Configure Analog WatchDog 1
  */
  AnalogWDGConfig.WatchdogNumber = ADC_ANALOGWATCHDOG_1;
  AnalogWDGConfig.WatchdogMode = ADC_ANALOGWATCHDOG_SINGLE_REG;
  AnalogWDGConfig.HighThreshold = 4000;
  AnalogWDGConfig.LowThreshold = 96;
  AnalogWDGConfig.Channel = ADC_CHANNEL_3;
  AnalogWDGConfig.ITMode = ENABLE;
  if (HAL_ADC_AnalogWDGConfig(&hadc2, &AnalogWDGConfig) != HAL_OK)
  {
    Error_Handler();
  }

  /** Configure Regular Channel
  */
  sConfig.Channel = ADC_CHANNEL_3;
  sConfig.Rank = ADC_REGULAR_RANK_1;
  sConfig.SingleDiff = ADC_SINGLE_ENDED;
  sConfig.SamplingTime = ADC_SAMPLETIME_61CYCLES_5;
  sConfig.OffsetNumber = ADC_OFFSET_NONE;
  sConfig.Offset = 0;
  if (HAL_ADC_ConfigChannel(&hadc2, &sConfig) != HAL_OK)
  {
    Error_Handler();
  }

  /** Configure Regular Channel
  */
  sConfig.Channel = ADC_CHANNEL_1;
  sConfig.Rank = ADC_REGULAR_RANK_2;
  sConfig.SamplingTime = ADC_SAMPLETIME_4CYCLES_5;
  if (HAL_ADC_ConfigChannel(&hadc2, &sConfig) != HAL_OK)
  {
    Error_Handler();
  }

  /** Configure Regular Channel
  */
  sConfig.Channel = ADC_CHANNEL_2;
  sConfig.Rank = ADC_REGULAR_RANK_3;
  if (HAL_ADC_ConfigChannel(&hadc2, &sConfig) != HAL_OK)
  {
    Error_Handler();
  }

  /** Configure Regular Channel
  */
  sConfig.Channel = ADC_CHANNEL_12;
  sConfig.Rank = ADC_REGULAR_RANK_4;
  sConfig.SamplingTime = ADC_SAMPLETIME_19CYCLES_5;
  if (HAL_ADC_ConfigChannel(&hadc2, &sConfig) != HAL_OK)
  {
    Error_Handler();
  }

  /** Configure Injected Channel
  */
  sConfigInjected.InjectedChannel = ADC_CHANNEL_3;
  sConfigInjected.InjectedRank = ADC_INJECTED_RANK_1;
  sConfigInjected.InjectedSingleDiff = ADC_SINGLE_ENDED;
  sConfigInjected.InjectedNbrOfConversion = 4;
  sConfigInjected.InjectedSamplingTime = ADC_SAMPLETIME_61CYCLES_5;
  sConfigInjected.ExternalTrigInjecConvEdge = ADC_EXTERNALTRIGINJECCONV_EDGE_FALLING;
  sConfigInjected.ExternalTrigInjecConv = ADC_EXTERNALTRIGINJECCONV_T1_TRGO;
  sConfigInjected.AutoInjectedConv = DISABLE;
  sConfigInjected.InjectedDiscontinuousConvMode = DISABLE;
  sConfigInjected.QueueInjectedContext = DISABLE;
  sConfigInjected.InjectedOffset = 0;
  sConfigInjected.InjectedOffsetNumber = ADC_OFFSET_NONE;
  if (HAL_ADCEx_InjectedConfigChannel(&hadc2, &sConfigInjected) != HAL_OK)
  {
    Error_Handler();
  }

  /** Configure Injected Channel
  */
  sConfigInjected.InjectedChannel = ADC_CHANNEL_1;
  sConfigInjected.InjectedRank = ADC_INJECTED_RANK_2;
  sConfigInjected.InjectedSamplingTime = ADC_SAMPLETIME_7CYCLES_5;
  if (HAL_ADCEx_InjectedConfigChannel(&hadc2, &sConfigInjected) != HAL_OK)
  {
    Error_Handler();
  }

  /** Configure Injected Channel
  */
  sConfigInjected.InjectedChannel = ADC_CHANNEL_2;
  sConfigInjected.InjectedRank = ADC_INJECTED_RANK_3;
  if (HAL_ADCEx_InjectedConfigChannel(&hadc2, &sConfigInjected) != HAL_OK)
  {
    Error_Handler();
  }

  /** Configure Injected Channel
  */
  sConfigInjected.InjectedChannel = ADC_CHANNEL_12;
  sConfigInjected.InjectedRank = ADC_INJECTED_RANK_4;
  if (HAL_ADCEx_InjectedConfigChannel(&hadc2, &sConfigInjected) != HAL_OK)
  {
    Error_Handler();
  }

}

static void MX_ADC3_Init(void)
{

  ADC_MultiModeTypeDef multimode = {0};
  ADC_AnalogWDGConfTypeDef AnalogWDGConfig = {0};
  ADC_ChannelConfTypeDef sConfig = {0};
  ADC_InjectionConfTypeDef sConfigInjected = {0};

  /** Common config
  */
  hadc3.Instance = ADC3;
  hadc3.Init.ClockPrescaler = ADC_CLOCK_ASYNC_DIV1;
  hadc3.Init.Resolution = ADC_RESOLUTION_12B;
  hadc3.Init.ScanConvMode = ADC_SCAN_DISABLE;
  hadc3.Init.ContinuousConvMode = DISABLE;
  hadc3.Init.DiscontinuousConvMode = DISABLE;
  hadc3.Init.ExternalTrigConvEdge = ADC_EXTERNALTRIGCONVEDGE_FALLING;
  hadc3.Init.ExternalTrigConv = ADC_EXTERNALTRIGCONV_T1_TRGO;
  hadc3.Init.DataAlign = ADC_DATAALIGN_RIGHT;
  hadc3.Init.NbrOfConversion = 1;
  hadc3.Init.DMAContinuousRequests = ENABLE;
  hadc3.Init.EOCSelection = ADC_EOC_SEQ_CONV;
  hadc3.Init.LowPowerAutoWait = DISABLE;
  hadc3.Init.Overrun = ADC_OVR_DATA_OVERWRITTEN;
  if (HAL_ADC_Init(&hadc3) != HAL_OK)
  {
    Error_Handler();
  }

  /** Configure the ADC multi-mode
  */
  multimode.Mode = ADC_MODE_INDEPENDENT;
  if (HAL_ADCEx_MultiModeConfigChannel(&hadc3, &multimode) != HAL_OK)
  {
    Error_Handler();
  }

  /** Configure Analog WatchDog 1
  */
  AnalogWDGConfig.WatchdogNumber = ADC_ANALOGWATCHDOG_1;
  AnalogWDGConfig.WatchdogMode = ADC_ANALOGWATCHDOG_SINGLE_REG;
  AnalogWDGConfig.HighThreshold = 4000;
  AnalogWDGConfig.LowThreshold = 96;
  AnalogWDGConfig.Channel = ADC_CHANNEL_1;
  AnalogWDGConfig.ITMode = ENABLE;
  if (HAL_ADC_AnalogWDGConfig(&hadc3, &AnalogWDGConfig) != HAL_OK)
  {
    Error_Handler();
  }

  /** Configure Regular Channel
  */
  sConfig.Channel = ADC_CHANNEL_1;
  sConfig.Rank = ADC_REGULAR_RANK_1;
  sConfig.SingleDiff = ADC_SINGLE_ENDED;
  sConfig.SamplingTime = ADC_SAMPLETIME_61CYCLES_5;
  sConfig.OffsetNumber = ADC_OFFSET_NONE;
  sConfig.Offset = 0;
  if (HAL_ADC_ConfigChannel(&hadc3, &sConfig) != HAL_OK)
  {
    Error_Handler();
  }

  /** Configure Injected Channel
  */
  sConfigInjected.InjectedChannel = ADC_CHANNEL_1;
  sConfigInjected.InjectedRank = ADC_INJECTED_RANK_1;
  sConfigInjected.InjectedSingleDiff = ADC_SINGLE_ENDED;
  sConfigInjected.InjectedNbrOfConversion = 1;
  sConfigInjected.InjectedSamplingTime = ADC_SAMPLETIME_61CYCLES_5;
  sConfigInjected.ExternalTrigInjecConvEdge = ADC_EXTERNALTRIGINJECCONV_EDGE_FALLING;
  sConfigInjected.ExternalTrigInjecConv = ADC_EXTERNALTRIGINJECCONV_T1_TRGO;
  sConfigInjected.AutoInjectedConv = DISABLE;
  sConfigInjected.InjectedDiscontinuousConvMode = DISABLE;
  sConfigInjected.QueueInjectedContext = DISABLE;
  sConfigInjected.InjectedOffset = 0;
  sConfigInjected.InjectedOffsetNumber = ADC_OFFSET_NONE;
  if (HAL_ADCEx_InjectedConfigChannel(&hadc3, &sConfigInjected) != HAL_OK)
  {
    Error_Handler();
  }

}

static void MX_ADC4_Init(void)
{

  ADC_ChannelConfTypeDef sConfig = {0};
  ADC_InjectionConfTypeDef sConfigInjected = {0};

  /** Common config
  */
  hadc4.Instance = ADC4;
  hadc4.Init.ClockPrescaler = ADC_CLOCK_ASYNC_DIV1;
  hadc4.Init.Resolution = ADC_RESOLUTION_12B;
  hadc4.Init.ScanConvMode = ADC_SCAN_DISABLE;
  hadc4.Init.ContinuousConvMode = DISABLE;
  hadc4.Init.DiscontinuousConvMode = DISABLE;
  hadc4.Init.ExternalTrigConvEdge = ADC_EXTERNALTRIGCONVEDGE_RISING;
  hadc4.Init.ExternalTrigConv = ADC_EXTERNALTRIGCONV_T1_TRGO;
  hadc4.Init.DataAlign = ADC_DATAALIGN_RIGHT;
  hadc4.Init.NbrOfConversion = 1;
  hadc4.Init.DMAContinuousRequests = ENABLE;
  hadc4.Init.EOCSelection = ADC_EOC_SEQ_CONV;
  hadc4.Init.LowPowerAutoWait = DISABLE;
  hadc4.Init.Overrun = ADC_OVR_DATA_OVERWRITTEN;
  if (HAL_ADC_Init(&hadc4) != HAL_OK)
  {
    Error_Handler();
  }

  /** Configure Regular Channel
  */
  sConfig.Channel = ADC_CHANNEL_3;
  sConfig.Rank = ADC_REGULAR_RANK_1;
  sConfig.SingleDiff = ADC_SINGLE_ENDED;
  sConfig.SamplingTime = ADC_SAMPLETIME_19CYCLES_5;
  sConfig.OffsetNumber = ADC_OFFSET_NONE;
  sConfig.Offset = 0;
  if (HAL_ADC_ConfigChannel(&hadc4, &sConfig) != HAL_OK)
  {
    Error_Handler();
  }

  /** Configure Injected Channel
  */
  sConfigInjected.InjectedChannel = ADC_CHANNEL_3;
  sConfigInjected.InjectedRank = ADC_INJECTED_RANK_1;
  sConfigInjected.InjectedSingleDiff = ADC_SINGLE_ENDED;
  sConfigInjected.InjectedNbrOfConversion = 1;
  sConfigInjected.InjectedSamplingTime = ADC_SAMPLETIME_7CYCLES_5;
  sConfigInjected.ExternalTrigInjecConvEdge = ADC_EXTERNALTRIGINJECCONV_EDGE_FALLING;
  sConfigInjected.ExternalTrigInjecConv = ADC_EXTERNALTRIGINJECCONV_T1_TRGO;
  sConfigInjected.AutoInjectedConv = DISABLE;
  sConfigInjected.InjectedDiscontinuousConvMode = DISABLE;
  sConfigInjected.QueueInjectedContext = DISABLE;
  sConfigInjected.InjectedOffset = 0;
  sConfigInjected.InjectedOffsetNumber = ADC_OFFSET_NONE;
  if (HAL_ADCEx_InjectedConfigChannel(&hadc4, &sConfigInjected) != HAL_OK)
  {
    Error_Handler();
  }

}

static void MX_COMP1_Init(void)
{

  hcomp1.Instance = COMP1;
  hcomp1.Init.InvertingInput = COMP_INVERTINGINPUT_1_4VREFINT;
  hcomp1.Init.NonInvertingInput = COMP_NONINVERTINGINPUT_IO1;
  hcomp1.Init.Output = COMP_OUTPUT_TIM1BKIN2;
  hcomp1.Init.OutputPol = COMP_OUTPUTPOL_NONINVERTED;
  hcomp1.Init.Hysteresis = COMP_HYSTERESIS_NONE;
  hcomp1.Init.BlankingSrce = COMP_BLANKINGSRCE_NONE;
  hcomp1.Init.Mode = COMP_MODE_HIGHSPEED;
  hcomp1.Init.WindowMode = COMP_WINDOWMODE_DISABLE;
  hcomp1.Init.TriggerMode = COMP_TRIGGERMODE_NONE;
  if (HAL_COMP_Init(&hcomp1) != HAL_OK)
  {
    Error_Handler();
  }

}

static void MX_COMP2_Init(void)
{

  hcomp2.Instance = COMP2;
  hcomp2.Init.InvertingInput = COMP_INVERTINGINPUT_1_4VREFINT;
  hcomp2.Init.NonInvertingInput = COMP_NONINVERTINGINPUT_IO1;
  hcomp2.Init.Output = COMP_OUTPUT_TIM1BKIN2;
  hcomp2.Init.OutputPol = COMP_OUTPUTPOL_NONINVERTED;
  hcomp2.Init.Hysteresis = COMP_HYSTERESIS_NONE;
  hcomp2.Init.BlankingSrce = COMP_BLANKINGSRCE_NONE;
  hcomp2.Init.Mode = COMP_MODE_HIGHSPEED;
  hcomp2.Init.WindowMode = COMP_WINDOWMODE_DISABLE;
  hcomp2.Init.TriggerMode = COMP_TRIGGERMODE_NONE;
  if (HAL_COMP_Init(&hcomp2) != HAL_OK)
  {
    Error_Handler();
  }

}

static void MX_COMP4_Init(void)
{

  hcomp4.Instance = COMP4;
  hcomp4.Init.InvertingInput = COMP_INVERTINGINPUT_1_4VREFINT;
  hcomp4.Init.NonInvertingInput = COMP_NONINVERTINGINPUT_IO1;
  hcomp4.Init.Output = COMP_OUTPUT_TIM1BKIN2;
  hcomp4.Init.OutputPol = COMP_OUTPUTPOL_NONINVERTED;
  hcomp4.Init.Hysteresis = COMP_HYSTERESIS_NONE;
  hcomp4.Init.BlankingSrce = COMP_BLANKINGSRCE_NONE;
  hcomp4.Init.Mode = COMP_MODE_HIGHSPEED;
  hcomp4.Init.WindowMode = COMP_WINDOWMODE_DISABLE;
  hcomp4.Init.TriggerMode = COMP_TRIGGERMODE_NONE;
  if (HAL_COMP_Init(&hcomp4) != HAL_OK)
  {
    Error_Handler();
  }

}

static void MX_COMP7_Init(void)
{

  hcomp7.Instance = COMP7;
  hcomp7.Init.InvertingInput = COMP_INVERTINGINPUT_VREFINT;
  hcomp7.Init.NonInvertingInput = COMP_NONINVERTINGINPUT_IO1;
  hcomp7.Init.Output = COMP_OUTPUT_TIM1BKIN2;
  hcomp7.Init.OutputPol = COMP_OUTPUTPOL_NONINVERTED;
  hcomp7.Init.Hysteresis = COMP_HYSTERESIS_NONE;
  hcomp7.Init.BlankingSrce = COMP_BLANKINGSRCE_NONE;
  hcomp7.Init.Mode = COMP_MODE_HIGHSPEED;
  hcomp7.Init.WindowMode = COMP_WINDOWMODE_DISABLE;
  hcomp7.Init.TriggerMode = COMP_TRIGGERMODE_NONE;
  if (HAL_COMP_Init(&hcomp7) != HAL_OK)
  {
    Error_Handler();
  }

}

static void MX_I2C1_Init(void)
{

  hi2c1.Instance = I2C1;
  hi2c1.Init.Timing = 0x0000020B;
  hi2c1.Init.OwnAddress1 = 0;
  hi2c1.Init.AddressingMode = I2C_ADDRESSINGMODE_7BIT;
  hi2c1.Init.DualAddressMode = I2C_DUALADDRESS_DISABLE;
  hi2c1.Init.OwnAddress2 = 0;
  hi2c1.Init.OwnAddress2Masks = I2C_OA2_NOMASK;
  hi2c1.Init.GeneralCallMode = I2C_GENERALCALL_DISABLE;
  hi2c1.Init.NoStretchMode = I2C_NOSTRETCH_DISABLE;
  if (HAL_I2C_Init(&hi2c1) != HAL_OK)
  {
    Error_Handler();
  }

  /** Configure Analogue filter
  */
  if (HAL_I2CEx_ConfigAnalogFilter(&hi2c1, I2C_ANALOGFILTER_ENABLE) != HAL_OK)
  {
    Error_Handler();
  }

  /** Configure Digital filter
  */
  if (HAL_I2CEx_ConfigDigitalFilter(&hi2c1, 0) != HAL_OK)
  {
    Error_Handler();
  }

}

static void MX_OPAMP1_Init(void)
{

  hopamp1.Instance = OPAMP1;
  hopamp1.Init.Mode = OPAMP_PGA_MODE;
  hopamp1.Init.NonInvertingInput = OPAMP_NONINVERTINGINPUT_IO0;
  hopamp1.Init.TimerControlledMuxmode = OPAMP_TIMERCONTROLLEDMUXMODE_DISABLE;
  hopamp1.Init.PgaConnect = OPAMP_PGA_CONNECT_INVERTINGINPUT_NO;
  hopamp1.Init.PgaGain = OPAMP_PGA_GAIN_16;
  hopamp1.Init.UserTrimming = OPAMP_TRIMMING_FACTORY;
  if (HAL_OPAMP_Init(&hopamp1) != HAL_OK)
  {
    Error_Handler();
  }

}

static void MX_OPAMP2_Init(void)
{

  hopamp2.Instance = OPAMP2;
  hopamp2.Init.Mode = OPAMP_PGA_MODE;
  hopamp2.Init.NonInvertingInput = OPAMP_NONINVERTINGINPUT_IO0;
  hopamp2.Init.TimerControlledMuxmode = OPAMP_TIMERCONTROLLEDMUXMODE_DISABLE;
  hopamp2.Init.PgaConnect = OPAMP_PGA_CONNECT_INVERTINGINPUT_NO;
  hopamp2.Init.PgaGain = OPAMP_PGA_GAIN_16;
  hopamp2.Init.UserTrimming = OPAMP_TRIMMING_FACTORY;
  if (HAL_OPAMP_Init(&hopamp2) != HAL_OK)
  {
    Error_Handler();
  }

}

static void MX_OPAMP3_Init(void)
{

  hopamp3.Instance = OPAMP3;
  hopamp3.Init.Mode = OPAMP_PGA_MODE;
  hopamp3.Init.NonInvertingInput = OPAMP_NONINVERTINGINPUT_IO0;
  hopamp3.Init.TimerControlledMuxmode = OPAMP_TIMERCONTROLLEDMUXMODE_DISABLE;
  hopamp3.Init.PgaConnect = OPAMP_PGA_CONNECT_INVERTINGINPUT_NO;
  hopamp3.Init.PgaGain = OPAMP_PGA_GAIN_16;
  hopamp3.Init.UserTrimming = OPAMP_TRIMMING_FACTORY;
  if (HAL_OPAMP_Init(&hopamp3) != HAL_OK)
  {
    Error_Handler();
  }

}

static void MX_TIM1_Init(void)
{

  TIM_MasterConfigTypeDef sMasterConfig = {0};
  TIM_OC_InitTypeDef sConfigOC = {0};
  TIM_BreakDeadTimeConfigTypeDef sBreakDeadTimeConfig = {0};

  htim1.Instance = TIM1;
  htim1.Init.Prescaler = 0;
  htim1.Init.CounterMode = TIM_COUNTERMODE_CENTERALIGNED1;
  htim1.Init.Period = 1023;
  htim1.Init.ClockDivision = TIM_CLOCKDIVISION_DIV1;
  htim1.Init.RepetitionCounter = 0;
  htim1.Init.AutoReloadPreload = TIM_AUTORELOAD_PRELOAD_DISABLE;
  if (HAL_TIM_PWM_Init(&htim1) != HAL_OK)
  {
    Error_Handler();
  }
  sMasterConfig.MasterOutputTrigger = TIM_TRGO_OC4REF;
  sMasterConfig.MasterOutputTrigger2 = TIM_TRGO2_RESET;
  sMasterConfig.MasterSlaveMode = TIM_MASTERSLAVEMODE_DISABLE;
  if (HAL_TIMEx_MasterConfigSynchronization(&htim1, &sMasterConfig) != HAL_OK)
  {
    Error_Handler();
  }
  sConfigOC.OCMode = TIM_OCMODE_PWM1;
  sConfigOC.Pulse = 512;
  sConfigOC.OCPolarity = TIM_OCPOLARITY_HIGH;
  sConfigOC.OCNPolarity = TIM_OCNPOLARITY_HIGH;
  sConfigOC.OCFastMode = TIM_OCFAST_DISABLE;
  sConfigOC.OCIdleState = TIM_OCIDLESTATE_RESET;
  sConfigOC.OCNIdleState = TIM_OCNIDLESTATE_RESET;
  if (HAL_TIM_PWM_ConfigChannel(&htim1, &sConfigOC, TIM_CHANNEL_1) != HAL_OK)
  {
    Error_Handler();
  }
  if (HAL_TIM_PWM_ConfigChannel(&htim1, &sConfigOC, TIM_CHANNEL_2) != HAL_OK)
  {
    Error_Handler();
  }
  if (HAL_TIM_PWM_ConfigChannel(&htim1, &sConfigOC, TIM_CHANNEL_3) != HAL_OK)
  {
    Error_Handler();
  }
  sConfigOC.Pulse = 5;
  if (HAL_TIM_PWM_ConfigChannel(&htim1, &sConfigOC, TIM_CHANNEL_4) != HAL_OK)
  {
    Error_Handler();
  }
  sBreakDeadTimeConfig.OffStateRunMode = TIM_OSSR_ENABLE;
  sBreakDeadTimeConfig.OffStateIDLEMode = TIM_OSSI_ENABLE;
  sBreakDeadTimeConfig.LockLevel = TIM_LOCKLEVEL_OFF;
  sBreakDeadTimeConfig.DeadTime = 30;
  sBreakDeadTimeConfig.BreakState = TIM_BREAK_DISABLE;
  sBreakDeadTimeConfig.BreakPolarity = TIM_BREAKPOLARITY_HIGH;
  sBreakDeadTimeConfig.BreakFilter = 0;
  sBreakDeadTimeConfig.Break2State = TIM_BREAK2_ENABLE;
  sBreakDeadTimeConfig.Break2Polarity = TIM_BREAK2POLARITY_HIGH;
  sBreakDeadTimeConfig.Break2Filter = 6;
  sBreakDeadTimeConfig.AutomaticOutput = TIM_AUTOMATICOUTPUT_DISABLE;
  if (HAL_TIMEx_ConfigBreakDeadTime(&htim1, &sBreakDeadTimeConfig) != HAL_OK)
  {
    Error_Handler();
  }
  HAL_TIM_MspPostInit(&htim1);

}

static void MX_TIM3_Init(void)
{

  TIM_SlaveConfigTypeDef sSlaveConfig = {0};
  TIM_MasterConfigTypeDef sMasterConfig = {0};
  TIM_IC_InitTypeDef sConfigIC = {0};

  htim3.Instance = TIM3;
  htim3.Init.Prescaler = 71;
  htim3.Init.CounterMode = TIM_COUNTERMODE_UP;
  htim3.Init.Period = 65535;
  htim3.Init.ClockDivision = TIM_CLOCKDIVISION_DIV1;
  htim3.Init.AutoReloadPreload = TIM_AUTORELOAD_PRELOAD_DISABLE;
  if (HAL_TIM_Base_Init(&htim3) != HAL_OK)
  {
    Error_Handler();
  }
  if (HAL_TIM_IC_Init(&htim3) != HAL_OK)
  {
    Error_Handler();
  }
  sSlaveConfig.SlaveMode = TIM_SLAVEMODE_RESET;
  sSlaveConfig.InputTrigger = TIM_TS_TI1FP1;
  sSlaveConfig.TriggerPolarity = TIM_INPUTCHANNELPOLARITY_RISING;
  sSlaveConfig.TriggerFilter = 0;
  if (HAL_TIM_SlaveConfigSynchro(&htim3, &sSlaveConfig) != HAL_OK)
  {
    Error_Handler();
  }
  sMasterConfig.MasterOutputTrigger = TIM_TRGO_RESET;
  sMasterConfig.MasterSlaveMode = TIM_MASTERSLAVEMODE_DISABLE;
  if (HAL_TIMEx_MasterConfigSynchronization(&htim3, &sMasterConfig) != HAL_OK)
  {
    Error_Handler();
  }
  sConfigIC.ICPolarity = TIM_INPUTCHANNELPOLARITY_RISING;
  sConfigIC.ICSelection = TIM_ICSELECTION_DIRECTTI;
  sConfigIC.ICPrescaler = TIM_ICPSC_DIV1;
  sConfigIC.ICFilter = 0;
  if (HAL_TIM_IC_ConfigChannel(&htim3, &sConfigIC, TIM_CHANNEL_1) != HAL_OK)
  {
    Error_Handler();
  }
  sConfigIC.ICPolarity = TIM_INPUTCHANNELPOLARITY_FALLING;
  sConfigIC.ICSelection = TIM_ICSELECTION_INDIRECTTI;
  if (HAL_TIM_IC_ConfigChannel(&htim3, &sConfigIC, TIM_CHANNEL_2) != HAL_OK)
  {
    Error_Handler();
  }

}

static void MX_TIM4_Init(void)
{

  TIM_SlaveConfigTypeDef sSlaveConfig = {0};
  TIM_MasterConfigTypeDef sMasterConfig = {0};
  TIM_IC_InitTypeDef sConfigIC = {0};

  htim4.Instance = TIM4;
  htim4.Init.Prescaler = 109;
  htim4.Init.CounterMode = TIM_COUNTERMODE_UP;
  htim4.Init.Period = 65535;
  htim4.Init.ClockDivision = TIM_CLOCKDIVISION_DIV1;
  htim4.Init.AutoReloadPreload = TIM_AUTORELOAD_PRELOAD_DISABLE;
  if (HAL_TIM_Base_Init(&htim4) != HAL_OK)
  {
    Error_Handler();
  }
  if (HAL_TIM_IC_Init(&htim4) != HAL_OK)
  {
    Error_Handler();
  }
  sSlaveConfig.SlaveMode = TIM_SLAVEMODE_RESET;
  sSlaveConfig.InputTrigger = TIM_TS_TI1F_ED;
  sSlaveConfig.TriggerPolarity = TIM_INPUTCHANNELPOLARITY_RISING;
  sSlaveConfig.TriggerFilter = 0;
  if (HAL_TIM_SlaveConfigSynchro(&htim4, &sSlaveConfig) != HAL_OK)
  {
    Error_Handler();
  }
  sMasterConfig.MasterOutputTrigger = TIM_TRGO_RESET;
  sMasterConfig.MasterSlaveMode = TIM_MASTERSLAVEMODE_DISABLE;
  if (HAL_TIMEx_MasterConfigSynchronization(&htim4, &sMasterConfig) != HAL_OK)
  {
    Error_Handler();
  }
  sConfigIC.ICPolarity = TIM_INPUTCHANNELPOLARITY_BOTHEDGE;
  sConfigIC.ICSelection = TIM_ICSELECTION_DIRECTTI;
  sConfigIC.ICPrescaler = TIM_ICPSC_DIV1;
  sConfigIC.ICFilter = 0;
  if (HAL_TIM_IC_ConfigChannel(&htim4, &sConfigIC, TIM_CHANNEL_1) != HAL_OK)
  {
    Error_Handler();
  }
  if (HAL_TIM_IC_ConfigChannel(&htim4, &sConfigIC, TIM_CHANNEL_2) != HAL_OK)
  {
    Error_Handler();
  }
  if (HAL_TIM_IC_ConfigChannel(&htim4, &sConfigIC, TIM_CHANNEL_3) != HAL_OK)
  {
    Error_Handler();
  }
  if (HAL_TIM_ConfigTI1Input(&htim4, TIM_TI1SELECTION_XORCOMBINATION) != HAL_OK)
  {
    Error_Handler();
  }

}

static void MX_TIM17_Init(void)
{

  htim17.Instance = TIM17;
  htim17.Init.Prescaler = 0;
  htim17.Init.CounterMode = TIM_COUNTERMODE_UP;
  htim17.Init.Period = 65535;
  htim17.Init.ClockDivision = TIM_CLOCKDIVISION_DIV1;
  htim17.Init.RepetitionCounter = 0;
  htim17.Init.AutoReloadPreload = TIM_AUTORELOAD_PRELOAD_DISABLE;
  if (HAL_TIM_Base_Init(&htim17) != HAL_OK)
  {
    Error_Handler();
  }

}

static void MX_USART3_UART_Init(void)
{

  huart3.Instance = USART3;
  huart3.Init.BaudRate = 9600;
  huart3.Init.WordLength = UART_WORDLENGTH_8B;
  huart3.Init.StopBits = UART_STOPBITS_1;
  huart3.Init.Parity = UART_PARITY_NONE;
  huart3.Init.Mode = UART_MODE_TX_RX;
  huart3.Init.HwFlowCtl = UART_HWCONTROL_NONE;
  huart3.Init.OverSampling = UART_OVERSAMPLING_16;
  huart3.Init.OneBitSampling = UART_ONE_BIT_SAMPLE_DISABLE;
  huart3.AdvancedInit.AdvFeatureInit = UART_ADVFEATURE_NO_INIT;
  if (HAL_UART_Init(&huart3) != HAL_OK)
  {
    Error_Handler();
  }

}

static void MX_DMA_Init(void)
{

  /* DMA controller clock enable */
  __HAL_RCC_DMA1_CLK_ENABLE();
  __HAL_RCC_DMA2_CLK_ENABLE();

}

static void MX_GPIO_Init(void)
{

  /* GPIO Ports Clock Enable */
  __HAL_RCC_GPIOF_CLK_ENABLE();
  __HAL_RCC_GPIOA_CLK_ENABLE();
  __HAL_RCC_GPIOB_CLK_ENABLE();

}

/* USER CODE BEGIN 4 */
void HAL_ADC_ConvcpltCallback(ADC_HandleTypeDef *hadc) {}
/* USER CODE END 4 */

void HAL_TIM_PeriodElapsedCallback(TIM_HandleTypeDef *htim)
{
  if (htim->Instance == TIM7) {
    HAL_IncTick();
  }
}

void Error_Handler(void)
{
  /* USER CODE BEGIN Error_Handler_Debug */
    /* User can add his own implementation to report the HAL error return state
     */

  /* USER CODE END Error_Handler_Debug */
}

#ifdef  USE_FULL_ASSERT
/**
  * @brief  Reports the name of the source file and the source line number
  *         where the assert_param error has occurred.
  * @param  file: pointer to the source file name
  * @param  line: assert_param error line source number
  * @retval None
  */
void assert_failed(uint8_t *file, uint32_t line)
{
  /* USER CODE BEGIN 6 */
    /* User can add his own implementation to report the file name and line
       number, tex: printf("Wrong parameters value: file %s on line %d\r\n",
       file, line) */
  /* USER CODE END 6 */
}
#endif /* USE_FULL_ASSERT */
